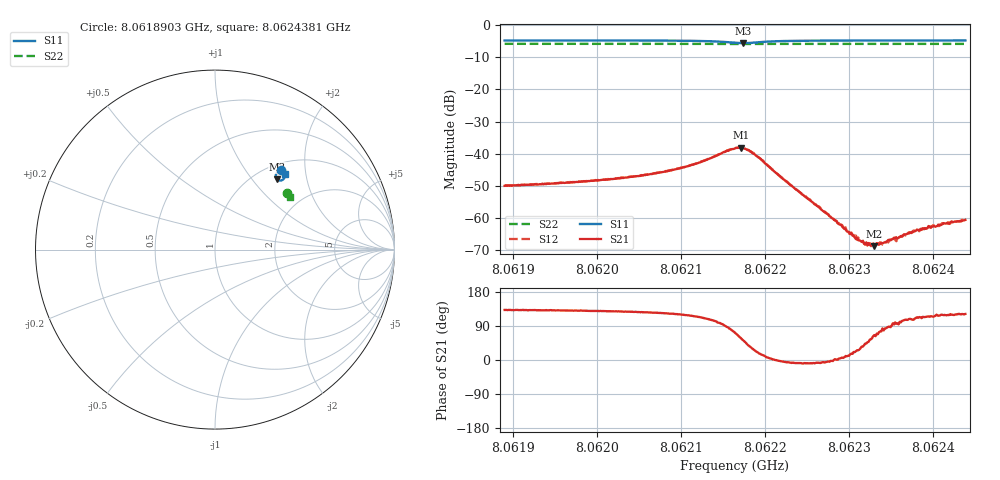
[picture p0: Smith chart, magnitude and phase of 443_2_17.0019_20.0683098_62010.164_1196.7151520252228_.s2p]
#  HZ  S  RI  R  50.00
! Rohde & Schwarz Vector Network Analyzer
! Rohde-Schwarz,ZNB20-2Port,1311601062101988,3.16
! Created: UTC 3/20/2024, 11:11:56 PM
! freq[Hz]  re:S11  im:S11  re:S21  im:S21  re:S12  im:S12  re:S22  im:S22
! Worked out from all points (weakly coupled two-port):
!   401 points, 8.0618903 GHz to 8.0624381 GHz, reference 50 ohm
!   highest |S21| = -38.11 dB at 8.0621711 GHz (marker M1); lowest = -68.7 dB at 8.0623299 GHz (marker M2)
!   lowest |S11| = -5.6 dB at 8.0621738 GHz (marker M3), VSWR 3.19, Z = 62.7 + j67.5 ohm
!   |S11| at or under -10 dB: nowhere
!   |S22| runs from -5.9 to -5.8 dB; largest |S21 - S12| = 0.00083
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8.06189035e9  0.3699 0.4415  -0.00213 0.00236  -0.00202 0.00251  0.3997 0.3177
8.0619821e9  0.3767 0.4355  -0.00239 0.00281  -0.00225 0.003  0.4029 0.3131
8.06203413e9  0.381 0.4307  -0.00261 0.00336  -0.00242 0.00355  0.4049 0.3104
8.06207385e9  0.3845 0.4255  -0.00285 0.0042  -0.00262 0.0044  0.4063 0.3082
8.06211356e9  0.3885 0.4155  -0.00299 0.00606  -0.00261 0.00628  0.4078 0.3059
8.06216422e9  0.3638 0.3848  0.0038 0.0115  0.00459 0.0113  0.4078 0.3024
8.06217107e9  0.3512 0.3881  0.00656 0.0106  0.00724 0.0101  0.4075 0.3025
8.06217381e9  0.3467 0.3912  0.00746 0.00959  0.00813 0.00925  0.4076 0.3026
8.06218613e9  0.3382 0.4116  0.0088 0.00471  0.00943 0.00423  0.4077 0.303
8.06222037e9  0.3588 0.435  0.00415 -0.000284  0.0042 -0.000538  0.4101 0.3021
8.06225597e9  0.3715 0.4345  0.00176 -0.000277  0.00179 -0.000359  0.412 0.3001
8.06229295e9  0.3784 0.432  0.000705 6.71e-05  0.000722 4.6e-05  0.4135 0.2982
8.06229979e9  0.3794 0.4315  0.000598 0.000118  0.000574 6.06e-05  0.4137 0.2979
8.06230938e9  0.3806 0.4307  0.000441 0.000212  0.000424 0.000174  0.4141 0.2974
8.06232033e9  0.3818 0.4299  0.000304 0.000289  0.000319 0.00025  0.4145 0.2968
8.06232992e9  0.3829 0.4294  0.000151 0.000336  0.000203 0.000312  0.4149 0.2962
8.06233677e9  0.3837 0.4289  0.0001 0.000384  0.000157 0.000392  0.4151 0.2959
8.06234224e9  0.3841 0.4285  5.04e-05 0.00042  0.0001 0.000412  0.4153 0.2956
8.06234772e9  0.3847 0.4282  1.66e-05 0.000461  4.87e-05 0.000443  0.4155 0.2954
8.06237785e9  0.3873 0.4262  -0.000204 0.000591  -0.000174 0.000614  0.4166 0.2937
8.06240113e9  0.3892 0.4248  -0.000323 0.000686  -0.000283 0.000696  0.4175 0.2925
8.0624381e9  0.3919 0.4226  -0.000492 0.0008  -0.000412 0.000817  0.4188 0.2906
